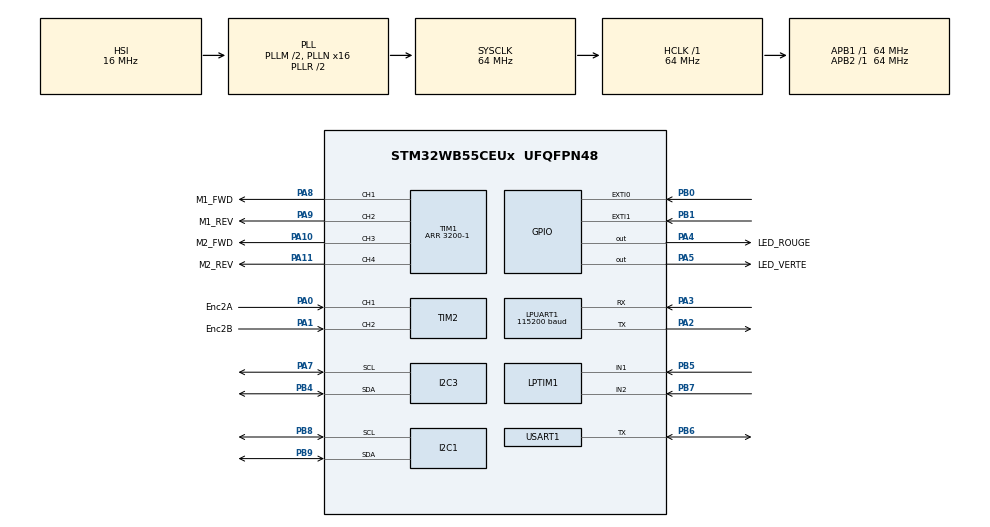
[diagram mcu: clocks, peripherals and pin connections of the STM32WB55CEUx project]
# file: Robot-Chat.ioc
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FREERTOS.Tasks01=defaultTask,0,128,StartDefaultTask,Default,NULL,Dynamic,NULL,NULL
FREERTOS.configTOTAL_HEAP_SIZE=20000
FREERTOS.configUSE_NEWLIB_REENTRANT=1
I2C1.Timing=0x10B17DB5
I2C3.Timing=0x10B17DB5
LPUART1.BaudRate=115200
Mcu.Family=STM32WB
Mcu.Name=STM32WB55CEUx
Mcu.Package=UFQFPN48
NVIC.EXTI0_IRQn=true\:5\:0\:false\:false\:true\:true\:true\:true\:true
NVIC.EXTI1_IRQn=true\:5\:0\:false\:false\:true\:true\:true\:true\:true
NVIC.PriorityGroup=NVIC_PRIORITYGROUP_4
NVIC.TIM1_TRG_COM_TIM17_IRQn=true\:5\:0\:false\:false\:true\:false\:false\:true\:true
NVIC.TIM1_UP_TIM16_IRQn=true\:15\:0\:false\:false\:true\:false\:false\:true\:true
NVIC.TimeBase=TIM1_UP_TIM16_IRQn
NVIC.TimeBaseIP=TIM16
PA0.GPIO_Label=Enc2A
PA0.Signal=S_TIM2_CH1
PA1.GPIO_Label=Enc2B
PA1.Signal=S_TIM2_CH2
PA10.GPIO_Label=M2_FWD
PA10.Signal=S_TIM1_CH3
PA11.GPIO_Label=M2_REV
PA11.Signal=S_TIM1_CH4
PA13.Mode=Trace_Asynchronous_SW
PA13.Signal=SYS_JTMS-SWDIO
PA14.Mode=Trace_Asynchronous_SW
PA14.Signal=SYS_JTCK-SWCLK
PA2.Mode=Asynchronous
PA2.Signal=LPUART1_TX
PA3.Mode=Asynchronous
PA3.Signal=LPUART1_RX
PA4.GPIO_Label=LED_ROUGE
PA4.Signal=GPIO_Output
PA5.GPIO_Label=LED_VERTE
PA5.Signal=GPIO_Output
PA7.Mode=I2C
PA7.Signal=I2C3_SCL
PA8.GPIO_Label=M1_FWD
PA8.Signal=S_TIM1_CH1
PA9.GPIO_Label=M1_REV
PA9.Signal=S_TIM1_CH2
PB0.GPIO_PuPd=GPIO_PULLDOWN
PB0.Signal=GPXTI0
PB1.GPIO_PuPd=GPIO_PULLDOWN
PB1.Signal=GPXTI1
PB3.Mode=Trace_Asynchronous_SW
PB3.Signal=SYS_JTDO-SWO
PB4.Mode=I2C
PB4.Signal=I2C3_SDA
PB5.Mode=Encoder_mode_occur1
PB5.Signal=LPTIM1_IN1
PB6.Mode=Half_duplex(single_wire_mode)
PB6.Signal=USART1_TX
PB7.Mode=Encoder_mode_occur1
PB7.Signal=LPTIM1_IN2
PB8.Mode=I2C
PB8.Signal=I2C1_SCL
PB9.Mode=I2C
PB9.Signal=I2C1_SDA
ProjectManager.HeapSize=0x200
ProjectManager.StackSize=0x400
ProjectManager.TargetToolchain=STM32CubeIDE
RCC.ADCFreq_Value=32000000
RCC.AHB2CLKDivider=RCC_SYSCLK_DIV2
RCC.AHBFreq_Value=64000000
RCC.APB1Freq_Value=64000000
RCC.APB1TimFreq_Value=64000000
RCC.APB2Freq_Value=64000000
RCC.APB2TimFreq_Value=64000000
RCC.APB3Freq_Value=16000000
RCC.CortexFreq_Value=64000000
RCC.HCLKFreq_Value=64000000
RCC.HSE_VALUE=32000000
RCC.HSI48_VALUE=48000000
RCC.HSI_VALUE=16000000
RCC.LSE_VALUE=32768
RCC.PLLM=RCC_PLLM_DIV2
RCC.PLLN=16
RCC.PLLSourceVirtual=RCC_PLLSOURCE_HSI
RCC.SYSCLKFreq_VALUE=64000000
RCC.SYSCLKSource=RCC_SYSCLKSOURCE_PLLCLK
RCC.USBFreq_Value=32000000
RCC.VCOOutputFreq_Value=128000000
SH.S_TIM1_CH1.0=TIM1_CH1,PWM Generation1 CH1
SH.S_TIM1_CH2.0=TIM1_CH2,PWM Generation2 CH2
SH.S_TIM1_CH3.0=TIM1_CH3,PWM Generation3 CH3
SH.S_TIM1_CH4.0=TIM1_CH4,PWM Generation4 CH4
SH.S_TIM2_CH1.0=TIM2_CH1,Encoder_Interface
SH.S_TIM2_CH2.0=TIM2_CH2,Encoder_Interface
TIM1.Channel-PWM\ Generation1\ CH1=TIM_CHANNEL_1
TIM1.Channel-PWM\ Generation2\ CH2=TIM_CHANNEL_2
TIM1.Channel-PWM\ Generation3\ CH3=TIM_CHANNEL_3
TIM1.Channel-PWM\ Generation4\ CH4=TIM_CHANNEL_4
TIM1.Period=3200-1
TIM1.Pulse-PWM\ Generation1\ CH1=1600
TIM17.Period=200-1
TIM17.Prescaler=6400-1
USART1.VirtualMode-Half_duplex(single_wire_mode)=VM_ASYNC
VP_FREERTOS_VS_CMSIS_V1.Mode=CMSIS_V1
VP_MEMORYMAP_VS_MEMORYMAP.Mode=CurAppReg
VP_SYS_VS_tim16.Mode=TIM16
VP_TIM17_VS_ClockSourceINT.Mode=Enable_Timer
VP_TIM1_VS_ClockSourceINT.Mode=Internal
board=custom

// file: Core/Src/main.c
/* USER CODE BEGIN Header */
/**
 ******************************************************************************
 * @file           : main.c
 * @brief          : Main program body
 ******************************************************************************
 * @attention
 *
 * Copyright (c) 2025 STMicroelectronics.
 * All rights reserved.
 *
 * This software is licensed under terms that can be found in the LICENSE file
 * in the root directory of this software component.
 * If no LICENSE file comes with this software, it is provided AS-IS.
 *
 ******************************************************************************
 */
/* USER CODE END Header */
#include "main.h"
#include "cmsis_os.h"
#include "i2c.h"
#include "lptim.h"
#include "usart.h"
#include "tim.h"
#include "gpio.h"

/* USER CODE BEGIN Includes */
#include <string.h>
#include <stdlib.h>
#include <math.h>
#include <stdio.h>
#include "../drivers/control.h"
#include "semphr.h"

/* USER CODE END Includes */

/* USER CODE BEGIN PD */
#define STACK_SIZE_SMALL   256
#define STACK_SIZE_MEDIUM  384

#define PRIO_CTRL    4
#define PRIO_TOF     3
#define PRIO_ODOM_MOTOR 5
#define PRIO_ACCEL   1
#define PRIO_LIDAR 2

#define TOF_TRESHHOLD 40

/* USER CODE END PD */

/* USER CODE BEGIN PV */
h_Motor_t hMotors;
Odom_t odom;
Encodeur_t enc;
PID_t pid_left;
PID_t pid_right;

h_control_t hControl;
//FREERTOS
SemaphoreHandle_t sem_TimerTOF;
SemaphoreHandle_t sem_ADXL;

//task handles
TaskHandle_t xTaskControlHandle = NULL;
TaskHandle_t xTaskToFHandle = NULL;
TaskHandle_t xTaskOdomMotorHandle = NULL;
TaskHandle_t xTaskTestHandle=NULL;
TaskHandle_t TaskTestOdomPollingHandle=NULL;

Odom_Params_t odom_params = {
		.wheel_radius = 0.02f,    // 4 cm de diametre donc 2 de rayon
		.wheel_base   = 0.153f,    // 15 cm entre roues
		.ticks_per_rev =  222.4f // cf datasheet moteurs
};

ADXL_InitTypeDef adxl ={
		.IntMode = INT_ACTIVEHIGH,
		.LPMode = LPMODE_NORMAL,
		.Rate = BWRATE_100,
		.Range = RANGE_4G,
		.Resolution = RESOLUTION_10BIT,
		.Justify = JUSTIFY_SIGNED,
		.AutoSleep = AUTOSLEEPOFF,
		.LinkMode = LINKMODEOFF
};

extern i2c_mux_t mux;

/* USER CODE END PV */

void SystemClock_Config(void);
void PeriphCommonClock_Config(void);
void MX_FREERTOS_Init(void);

/* USER CODE BEGIN 0 */
int __io_putchar(int ch)
{
	HAL_UART_Transmit(&hlpuart1, (uint8_t*)&ch, 1, HAL_MAX_DELAY);
	return ch;
}

static void ControlData_Init(void)
{
	hControl.AccData = 0;
	hControl.vide    = 0;
}

/* ============================= */
/*       TASK   ACCELERO          */
/* ============================= */

void HAL_GPIO_EXTI_Callback(uint16_t GPIO_Pin)
{
	if (GPIO_Pin == GPIO_PIN_0 || GPIO_Pin == GPIO_PIN_1){
		ADXL_IntProto();
		int16_t acc[3] = {0,0,0};
		ADXL_getAccel(acc ,OUTPUT_SIGNED);
		//printf("x : %d, y : %d, z : %d\r\n",(int)acc[0],(int)acc[1],(int)acc[2]);
		ADXL_disableSingleTap();
		BaseType_t higher_priority_task_woken = pdFALSE;
		xSemaphoreGiveFromISR(sem_ADXL, &higher_priority_task_woken);
		portYIELD_FROM_ISR(higher_priority_task_woken);
	}
}

void taskAccelDetection(void * unused){
	printf("[ACC] Start \r\n");
	uint8_t mesured_axes = X_axes | Y_axes;
	uint8_t duration_choc =0x1B;
	uint8_t threshold_choc = 0x21;

	for (;;){
		ADXL_enableSingleTap(INT2, mesured_axes,duration_choc, threshold_choc);
		xSemaphoreTake(sem_ADXL,portMAX_DELAY);
		hControl.AccData=!hControl.AccData;
		//printf("Choc \r\n");
		vTaskDelay(50);
	}
}

/* ============================= */
/*       TASK   TOFS          */
/* ============================= */
void taskTOFDetection(void *unused)
{
	printf("[TOF] Task Loop Start\r\n");

	// Le démarrage du timer ici est correct car TOF_Init est déjà fait
	if (HAL_TIM_Base_Start_IT(&htim17) != HAL_OK)
		printf("[TOF] Erreur Timer 17\r\n");
	for (;;)
	{
		// On attend le top du Timer 17 (20ms)
		if (xSemaphoreTake(sem_TimerTOF, portMAX_DELAY) != pdTRUE)
		{
			printf("[TOF] timeout sem_TimerTOF\r\n");
			continue;
		}

		int new_vide = 0;
		// Canal 0 : Gauche
		if (data_read_TOF(VL53L0X_DEFAULT_ADDRESS, 0) == 1) {
			new_vide |= 1;
		}
		// Canal 1 : Centre / Avant
		if (data_read_TOF(VL53L0X_DEFAULT_ADDRESS, 1) == 1) {
			new_vide |= 2;
		}
		// Canal 2 : Droite
		if (data_read_TOF(VL53L0X_DEFAULT_ADDRESS, 2) == 1) {
			new_vide |= 4;
		}
		// Canal 3 : Arrière (On ne le lit que si l'avant est "safe")
		if (data_read_TOF(VL53L0X_DEFAULT_ADDRESS, 3) == 1) {
			new_vide |= 8;
		}

		if (new_vide != 0) {
			hControl.vide = new_vide;
		}
		else {
			// On ne remet à zéro hControl.vide QUE si aucun capteur ne voit de vide
			hControl.vide = 0;
		}

		// --- DEBUG ---
		// if(new_vide != 0) printf("[TOF] Detection Vide sur Canal : %d\r\n", new_vide);
	}
}

/* ============================= */
/*       TASK  MOTOR et odométrie      */
/* ============================= */
void Task_Motor(void *argument)
{
	Odom_t odom_local;
	odom_local=hControl.odom;
	for(;;)
	{
		Encodeur_Read(&enc);//lecture encodeurs
		Odom_Update(&odom_local,&enc,&odom_params);//mise à jour odométrie
		hControl.odom=odom_local;
		//printf("Position : x=%f,y=%f, theta=%f degres \r\n",hControl.odom.x,hControl.odom.y, hControl.odom.theta * 180.0f / M_PI);
		Motor_UpdateSpeed(&hControl.hMotors);
		vTaskDelay(pdMS_TO_TICKS(10));
	}
}

/* ============================= */
/*       TASK  Control     */
/* ============================= */
void Task_Control(void *unused)
{
	printf("[CTRL] start\r\n");
	// --- INITIALISATION DES LEDS ---
	// Au démarrage, le robot est inactif (Rouge allumé, Vert éteint)
	HAL_GPIO_WritePin(GPIOA, GPIO_PIN_4, GPIO_PIN_SET);   // Rouge ON
	HAL_GPIO_WritePin(GPIOA, GPIO_PIN_5, GPIO_PIN_RESET); // Vert OFF
	// Vitesses augmentées
	const float V_FWD  = 0.18f;
	const float V_BACK = -0.14f;
	const float V_TURN = 0.14f;
	typedef enum { MOVE_FWD, MOVE_BRAKE, MOVE_BACKWARD, MOVE_TURN } state_t;
	state_t current_state = MOVE_FWD;
	int robot_active = 0;    // Le robot commence arrêté
	int last_acc_val = 0;    // Pour détecter le changement (front montant) sur AccData
	int timer_state = 0;
	int side_memory = 0;
	int last_turn_dir = 0;
	for (;;)
	{
		int vide;
		int current_acc;
		float vL = 0.0f;
		float vR = 0.0f;
		//lecture données
		vide = hControl.vide;
		current_acc = hControl.AccData; // Supposons que AccData passe à 1 lors d'un choc
		// --- LOGIQUE START/STOP (ACCÉLÉRO) ---
		if (current_acc == 1 && last_acc_val == 0) {
			robot_active = !robot_active;
			printf("[CTRL] ACC CHOC ! Robot %s\n", robot_active ? "START" : "STOP");

			if (robot_active) {
				// PASSAGE EN MARCHE : Vert ON, Rouge OFF
				HAL_GPIO_WritePin(GPIOA, GPIO_PIN_5, GPIO_PIN_SET);   // Vert
				HAL_GPIO_WritePin(GPIOA, GPIO_PIN_4, GPIO_PIN_RESET); // Rouge

				current_state = MOVE_FWD;
			} else {
				// PASSAGE EN ARRÊT : Rouge ON, Vert OFF
				HAL_GPIO_WritePin(GPIOA, GPIO_PIN_4, GPIO_PIN_SET);   // Rouge
				HAL_GPIO_WritePin(GPIOA, GPIO_PIN_5, GPIO_PIN_RESET); // Vert

				current_state = MOVE_BRAKE;
				timer_state = 1;
			}
		}
		last_acc_val = current_acc;
		// --- MACHINE À ÉTATS ---
		if (robot_active) {
			switch (current_state)
			{
			case MOVE_FWD:
				if ((vide & 1) || (vide & 2) || (vide & 4)) {
					side_memory = vide;
					current_state = MOVE_BRAKE;
					timer_state = 1; // Freinage immédiat
					printf("[CTRL] DANGER (%d) -> STOP\r\n", vide);
				} else {
					vL = V_FWD; vR = V_FWD;
				}
				break;
			case MOVE_BRAKE:
				// Envoie juste une commande de vitesse nulle.
				vL = -0.05f;
				vR = -0.05f;

				timer_state--;
				if (timer_state <= 0) {
					current_state = MOVE_BACKWARD;
					timer_state = 60;
					printf("[CTRL] Debut Recul 1.2s\r\n");
				}
				break;
			case MOVE_BACKWARD:
				if (vide & 8) { // Sécurité Arrière
					vL = 0.0f; vR = 0.0f;
					current_state = MOVE_TURN;
					printf("[CTRL] DANGER (%d) -> STOP\r\n", vide);
					timer_state = 30; // Rotation plus rapide
				} else {
					vL = V_BACK; vR = V_BACK;
					timer_state--;
					if (timer_state <= 0) {
						current_state = MOVE_TURN;
						timer_state = 35; // Environ 90° à 0.15f
					}
				}
				break;
			case MOVE_TURN:
				// Si vide détecté pendant rotation, on repart en arrière
				if (((vide & 1) || (vide & 2) || (vide & 4)) && ((vide & 8) == 0)) {
					current_state = MOVE_BRAKE;
					timer_state = 1;
					break;
				}

				if (side_memory & 1 || side_memory & 2) { // Gauche ou Centre -> Droite
					vL = V_TURN; vR = -V_TURN;
					last_turn_dir = 2;
				} else if (side_memory & 4) { // Droite -> Gauche
					vL = -V_TURN; vR = V_TURN;
					last_turn_dir = 1;
				} else {
					if (last_turn_dir == 1) { vL = -V_TURN; vR = V_TURN; }
					else { vL = V_TURN; vR = -V_TURN; }
				}

				timer_state--;
				if (timer_state <= 0) {
					current_state = MOVE_FWD;
					side_memory = 0;
				}
				break;
			}
		} else {
		    // Robot inactif : On coupe tout pour le silence et la batterie
		    vL = 0.0f; vR = 0.0f;
		    hControl.hMotors.mode_mot1 = STANDBY_MODE;
		    hControl.hMotors.mode_mot2 = STANDBY_MODE;
		    Motor_SetMode(&hControl.hMotors);
		}
		// --- ENVOI COMMANDES ---
		Motor_CommandVelLR(&hControl.hMotors, vL, vR);
		vTaskDelay(pdMS_TO_TICKS(20));
	}
}
/* USER CODE END 0 */

int main(void)
{

	/* MCU Configuration--------------------------------------------------------*/

	/* Reset of all peripherals, Initializes the Flash interface and the Systick. */
	HAL_Init();

	/* Configure the system clock */
	SystemClock_Config();

	/* Configure the peripherals common clocks */
	PeriphCommonClock_Config();

	/* Initialize all configured peripherals */
	MX_GPIO_Init();
	MX_TIM1_Init();
	MX_TIM2_Init();
	MX_I2C1_Init();
	MX_I2C3_Init();
	MX_LPTIM1_Init();
	MX_LPUART1_UART_Init();
	MX_USART1_UART_Init();
	MX_TIM17_Init();
	/* USER CODE BEGIN 2 */
	printf(" ------ FELIX READY ------\r\n ");
	/* ======================== INIT ========================= */
	/* 1. RESET LOGICIEL I2C (Pour débloquer le bus si gelé) */
	__HAL_I2C_DISABLE(&hi2c3);
	HAL_Delay(10);
	__HAL_I2C_ENABLE(&hi2c3);

	//initialisation lidar

	//intialisation TOFS
	if (TOF_Init() != 1) {
		printf("[TOF] FATAL ERROR: Panne materielle I2C\r\n");
		// On ne bloque pas tout le robot, mais on met un flag d'erreur
		hControl.vide = -1;
	} else {
		printf("[TOF] Initialisation reussie !\r\n");
	}

	//création sémaphores
	sem_TimerTOF = xSemaphoreCreateBinary();
	sem_ADXL = xSemaphoreCreateBinary();

	//Initialisation moteurs
	hControl.hMotors.m1_forward_channel = TIM_CHANNEL_1;
	hControl.hMotors.m1_reverse_channel = TIM_CHANNEL_2;
	hControl.hMotors.m2_forward_channel = TIM_CHANNEL_4; //J'ai échangé 3 et 4 pour que quand on veuille être en mode fwd, les deux roues sont dans le mm sens
	hControl.hMotors.m2_reverse_channel = TIM_CHANNEL_3;
	Motor_Init(&hControl.hMotors, &htim1);

	//initialisation variables tâches
	ControlData_Init();

	//initialisation accelero
	hControl.AccData=0;
	ADXL_Init(&adxl);
	ADXL_SetOffset(2,0,-63);
	ADXL_Measure(ON);

	//initialisation odométrie
	Encodeur_Init();
	Odom_Init(&hControl.odom);

	//initialisation asservissement (non testé)
	PID_Init(&pid_left,
			0.0f,     // Kp
			0.0f,     // Ki
			-100.0f,
			100.0f);

	PID_Init(&pid_right,
			0.0f,
			0.0f,
			-100.0f,
			100.0f);

	/* ======================== CREATION TACHES ========================== */
	if(xTaskCreate(taskTOFDetection,   "TOF",  1024, NULL, 2, NULL) != pdPASS){
		printf("Error creating task detection\r\n");
		Error_Handler();
	}
	if(xTaskCreate(taskAccelDetection, "ACC",   512, NULL, 1, NULL)!= pdPASS){
		printf("Error creating task accel\r\n");
		Error_Handler();
	}

	if(xTaskCreate(Task_Control, "CTRL", 1024, NULL, 3, NULL)!= pdPASS){
		printf("Error creating task ctrl\r\n");
		Error_Handler();
	}
	if(xTaskCreate(Task_Motor, "Task_Motor", 1024, NULL, 4, NULL)!= pdPASS){
		printf("Error creating task motor\r\n");
		Error_Handler();
	}

	vTaskStartScheduler();
	/* USER CODE END 2 */

	/* Call init function for freertos objects (in cmsis_os2.c) */
	MX_FREERTOS_Init();

	/* Start scheduler */
	osKernelStart();

	/* We should never get here as control is now taken by the scheduler */

	/* Infinite loop */
	while (1)
	{

	}
}

void SystemClock_Config(void)
{
	RCC_OscInitTypeDef RCC_OscInitStruct = {0};
	RCC_ClkInitTypeDef RCC_ClkInitStruct = {0};

	/** Configure the main internal regulator output voltage
	 */
	__HAL_PWR_VOLTAGESCALING_CONFIG(PWR_REGULATOR_VOLTAGE_SCALE1);

	/** Initializes the RCC Oscillators according to the specified parameters
	 * in the RCC_OscInitTypeDef structure.
	 */
	RCC_OscInitStruct.OscillatorType = RCC_OSCILLATORTYPE_HSI;
	RCC_OscInitStruct.HSIState = RCC_HSI_ON;
	RCC_OscInitStruct.HSICalibrationValue = RCC_HSICALIBRATION_DEFAULT;
	RCC_OscInitStruct.PLL.PLLState = RCC_PLL_ON;
	RCC_OscInitStruct.PLL.PLLSource = RCC_PLLSOURCE_HSI;
	RCC_OscInitStruct.PLL.PLLM = RCC_PLLM_DIV2;
	RCC_OscInitStruct.PLL.PLLN = 16;
	RCC_OscInitStruct.PLL.PLLP = RCC_PLLP_DIV2;
	RCC_OscInitStruct.PLL.PLLR = RCC_PLLR_DIV2;
	RCC_OscInitStruct.PLL.PLLQ = RCC_PLLQ_DIV2;
	if (HAL_RCC_OscConfig(&RCC_OscInitStruct) != HAL_OK)
	{
		Error_Handler();
	}

	/** Configure the SYSCLKSource, HCLK, PCLK1 and PCLK2 clocks dividers
	 */
	RCC_ClkInitStruct.ClockType = RCC_CLOCKTYPE_HCLK4|RCC_CLOCKTYPE_HCLK2
			|RCC_CLOCKTYPE_HCLK|RCC_CLOCKTYPE_SYSCLK
			|RCC_CLOCKTYPE_PCLK1|RCC_CLOCKTYPE_PCLK2;
	RCC_ClkInitStruct.SYSCLKSource = RCC_SYSCLKSOURCE_PLLCLK;
	RCC_ClkInitStruct.AHBCLKDivider = RCC_SYSCLK_DIV1;
	RCC_ClkInitStruct.APB1CLKDivider = RCC_HCLK_DIV1;
	RCC_ClkInitStruct.APB2CLKDivider = RCC_HCLK_DIV1;
	RCC_ClkInitStruct.AHBCLK2Divider = RCC_SYSCLK_DIV2;
	RCC_ClkInitStruct.AHBCLK4Divider = RCC_SYSCLK_DIV1;

	if (HAL_RCC_ClockConfig(&RCC_ClkInitStruct, FLASH_LATENCY_3) != HAL_OK)
	{
		Error_Handler();
	}
}

void PeriphCommonClock_Config(void)
{
	RCC_PeriphCLKInitTypeDef PeriphClkInitStruct = {0};

	/** Initializes the peripherals clock
	 */
	PeriphClkInitStruct.PeriphClockSelection = RCC_PERIPHCLK_SMPS;
	PeriphClkInitStruct.SmpsClockSelection = RCC_SMPSCLKSOURCE_HSI;
	PeriphClkInitStruct.SmpsDivSelection = RCC_SMPSCLKDIV_RANGE1;

	if (HAL_RCCEx_PeriphCLKConfig(&PeriphClkInitStruct) != HAL_OK)
	{
		Error_Handler();
	}
}

void HAL_TIM_PeriodElapsedCallback(TIM_HandleTypeDef *htim)
{
	if (htim->Instance == TIM16)
	{
		HAL_IncTick();
	}
	/* USER CODE BEGIN Callback 1 */
	else if (htim->Instance == TIM17)
	{
		if (sem_TimerTOF != NULL)
		{
			BaseType_t hpw = pdFALSE;
			xSemaphoreGiveFromISR(sem_TimerTOF, &hpw);
			portYIELD_FROM_ISR(hpw);
		}
	}
	/* USER CODE END Callback 1 */
}

void Error_Handler(void)
{
	__disable_irq();
	while (1)
	{
	}
}
